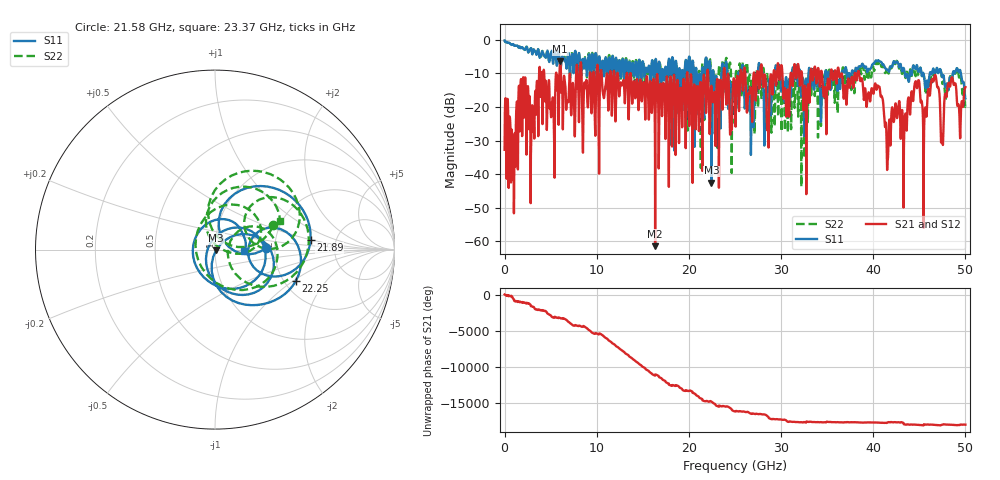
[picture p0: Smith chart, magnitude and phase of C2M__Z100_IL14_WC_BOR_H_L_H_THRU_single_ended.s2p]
# GHz S RI R 50
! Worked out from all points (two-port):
!   5000 points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, 10 MHz to 50 GHz, reference 50 ohm
!   highest |S21| = -6.38 dB at 6.05 GHz (marker M1); lowest = -61.4 dB at 16.34 GHz (marker M2)
!   |S21| within 3 dB of the highest: 29.92 GHz to 30.13 GHz (212.2 MHz wide, 0.707 % of centre); 31.73 GHz to 31.95 GHz (219.8 MHz wide, 0.69 % of centre)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
!   lowest |S11| = -42.6 dB at 22.45 GHz (marker M3), VSWR 1.01, Z = 50.6 - j0.462 ohm
!   |S11| at or under -10 dB: 25.92 GHz to 27.49 GHz (1.565 GHz wide, 5.86 % of centre); 28.03 GHz to 29.32 GHz (1.285 GHz wide, 4.48 % of centre); 29.9 GHz to 31.18 GHz (1.276 GHz wide, 4.18 % of centre)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
!   |S22| runs from -43.8 to -0.2 dB; largest |S21 - S12| = 3.7e-07
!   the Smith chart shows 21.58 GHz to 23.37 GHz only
!   S11 on the Smith chart (normalised r, x): 21.58 GHz: 1.80, +0.04; 21.89 GHz: 3.22, +0.49; 22.25 GHz: 2.31, -1.05; 23.37 GHz: 1.39, -0.02
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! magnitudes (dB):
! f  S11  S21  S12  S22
! 10 MHz  -0.2  -32.7  -32.7  -0.2
! 6.05 GHz  -8.6  -6.4  -6.4  -8.2
! 8.35 GHz  -9.3  -9.8  -9.8  -8.6
! 16.34 GHz  -6.5  -61.4  -61.4  -9.2
! 16.68 GHz  -10.3  -19.5  -19.5  -15.5
! 21.58 GHz  -10.9  -11.4  -11.4  -9.1
! 21.89 GHz  -5.4  -20.0  -20.0  -5.5
! 22.25 GHz  -6.3  -27.7  -27.7  -5.5
! 22.45 GHz  -42.6  -13.8  -13.8  -20.1
! 23.37 GHz  -15.7  -13.1  -13.1  -8.1
! 25.01 GHz  -19.1  -16.3  -16.3  -17.1
! 31.66 GHz  -7.8  -11.4  -11.4  -9.6
! 32.61 GHz  -14.8  -14.3  -14.3  -15.8
! 33.34 GHz  -10.5  -9.9  -9.9  -12.1
! 40.45 GHz  -6.4  -13.7  -13.7  -7.2
! 41.67 GHz  -9.3  -28.0  -28.0  -10.1
! 44.74 GHz  -7.5  -14.4  -14.4  -8.6
! 45.58 GHz  -12.6  -21.5  -21.5  -12.3
! 46.83 GHz  -9.1  -11.6  -11.6  -10.1
! 47.47 GHz  -11.0  -28.1  -28.1  -12.4
! 48.34 GHz  -11.2  -13.9  -13.9  -10.9
! 50 GHz  -17.5  -14.1  -14.1  -20.0
